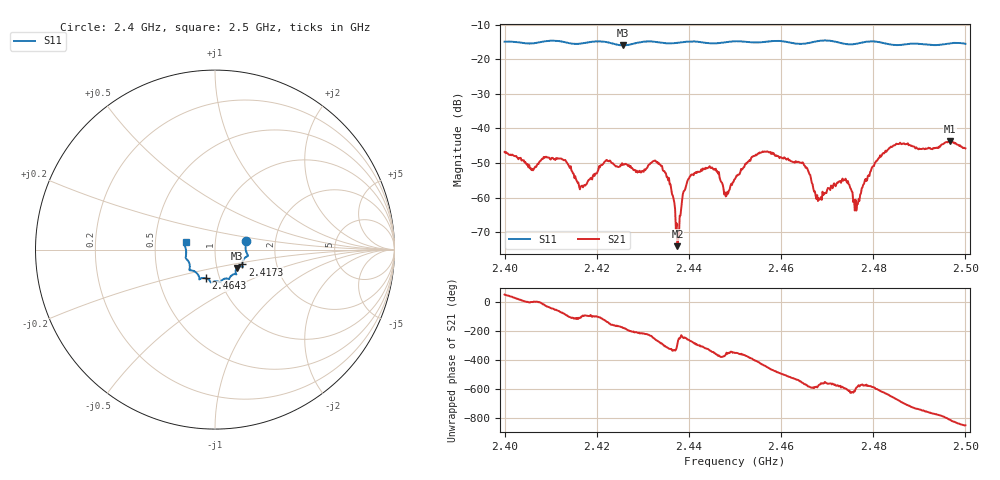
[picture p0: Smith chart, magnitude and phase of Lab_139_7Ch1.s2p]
# Hz S RI R 50
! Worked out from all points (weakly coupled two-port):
!   601 points, 2.4 GHz to 2.5 GHz, reference 50 ohm
!   highest |S21| = -43.71 dB at 2.4967 GHz (marker M1); lowest = -74.1 dB at 2.4375 GHz (marker M2)
!   lowest |S11| = -15.9 dB at 2.4257 GHz (marker M3), VSWR 1.38, Z = 62.4 - j13.2 ohm
!   |S11| at or under -10 dB: start of sweep to end of sweep
!   S12 and S22 are empty: the file has one direction only
!   S11 on the Smith chart (normalised r, x): 2.4 GHz: 1.41, +0.14; 2.4173 GHz: 1.34, -0.23; 2.4643 GHz: 0.86, -0.28; 2.5 GHz: 0.72, +0.06
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2.4e9  0.1736 0.0493  0.0027 0.00368  0 0  0 0
2.406e9  0.1706 0.000988  0.0026 4.72e-05  0 0  0 0
2.412667e9  0.1759 -0.039  0.000829 -0.00344  0 0  0 0
2.416667e9  0.1526 -0.0752  -0.000209 -0.00146  0 0  0 0
2.417333e9  0.152 -0.0824  -4.45e-05 -0.00151  0 0  0 0
2.425667e9  0.1224 -0.1027  -0.00298 -0.000104  0 0  0 0
2.433333e9  0.1125 -0.1366  7.48e-05 0.00309  0 0  0 0
2.435833e9  0.0952 -0.1416  0.00124 0.000927  0 0  0 0
2.4375e9  0.0847 -0.1516  7.01e-05 0.000185  0 0  0 0
2.440667e9  0.0786 -0.1642  0.000148 0.00216  0 0  0 0
2.445333e9  0.0525 -0.1624  0.00246 0.000641  0 0  0 0
2.448167e9  0.0345 -0.1746  0.00105 0.000187  0 0  0 0
2.45e9  0.0295 -0.1809  0.00184 0.000257  0 0  0 0
2.455833e9  -0.00554 -0.1775  0.00149 -0.00429  0 0  0 0
2.464333e9  -0.0502 -0.1602  -0.00313 0.000648  0 0  0 0
2.466667e9  -0.0761 -0.1595  -0.000985 0.0013  0 0  0 0
2.468333e9  -0.086 -0.1649  -0.000785 0.000501  0 0  0 0
2.474e9  -0.0975 -0.136  -0.000955 0.00161  0 0  0 0
2.4765e9  -0.122 -0.1176  -0.000516 0.000601  0 0  0 0
2.483333e9  -0.1403 -0.0894  0.00102 0.00494  0 0  0 0
2.496667e9  -0.1695 0.0244  -0.000706 -0.00649  0 0  0 0
2.5e9  -0.1634 0.0418  -0.00358 -0.0037  0 0  0 0
